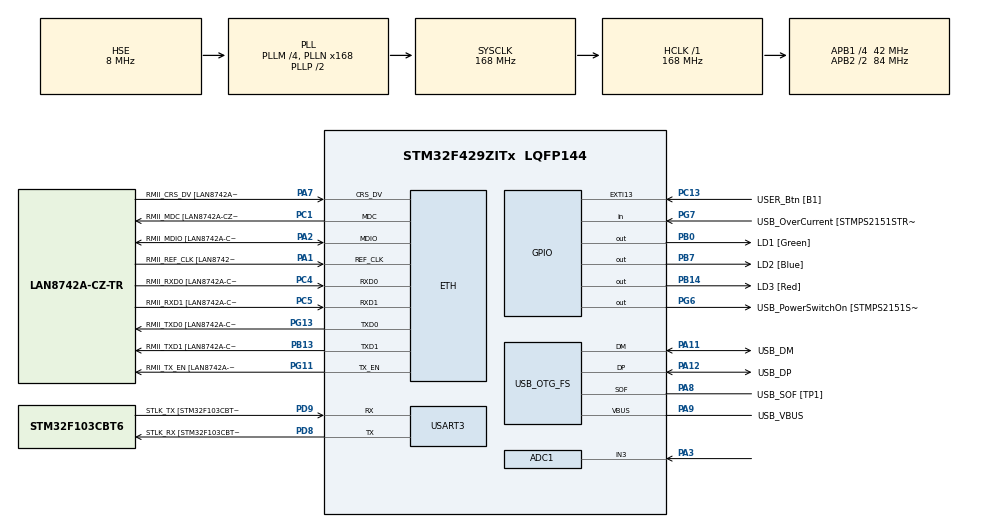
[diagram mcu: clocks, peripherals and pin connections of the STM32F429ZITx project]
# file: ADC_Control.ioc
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ADC1.Channel-0\#ChannelRegularConversion=ADC_CHANNEL_3
ADC1.NbrOfConversionFlag=1
ADC1.Rank-0\#ChannelRegularConversion=1
ADC1.SamplingTime-0\#ChannelRegularConversion=ADC_SAMPLETIME_3CYCLES
ADC1.master=1
ETH.MediaInterface=HAL_ETH_RMII_MODE
ETH.PHY_Name=LAN8742A_PHY_ADDRESS
ETH.PHY_Value=0
ETH.PhyAddress=0
Mcu.Family=STM32F4
Mcu.Name=STM32F429ZITx
Mcu.Package=LQFP144
NVIC.ADC_IRQn=true\:0\:0\:false\:true\:true\:1\:true\:true\:true
NVIC.EXTI15_10_IRQn=true\:0\:0\:false\:true\:true\:3\:true\:true\:true
NVIC.PriorityGroup=NVIC_PRIORITYGROUP_4
NVIC.USART3_IRQn=true\:0\:0\:false\:true\:true\:2\:true\:true\:true
PA1.GPIO_Label=RMII_REF_CLK [LAN8742A-CZ-TR_REFCLK0]
PA1.Mode=RMII
PA1.Signal=ETH_REF_CLK
PA10.GPIO_Label=USB_ID
PA10.Signal=USB_OTG_FS_ID
PA11.GPIO_Label=USB_DM
PA11.Mode=Device_Only
PA11.Signal=USB_OTG_FS_DM
PA12.GPIO_Label=USB_DP
PA12.Mode=Device_Only
PA12.Signal=USB_OTG_FS_DP
PA13.GPIO_Label=TMS
PA13.Mode=Serial_Wire
PA13.Signal=SYS_JTMS-SWDIO
PA14.GPIO_Label=TCK
PA14.Mode=Serial_Wire
PA14.Signal=SYS_JTCK-SWCLK
PA2.GPIO_Label=RMII_MDIO [LAN8742A-CZ-TR_MDIO]
PA2.Mode=RMII
PA2.Signal=ETH_MDIO
PA3.Signal=ADCx_IN3
PA7.GPIO_Label=RMII_CRS_DV [LAN8742A-CZ-TR_CRS_DV]
PA7.Mode=RMII
PA7.Signal=ETH_CRS_DV
PA8.GPIO_Label=USB_SOF [TP1]
PA8.Mode=Activate_SOF_FS
PA8.Signal=USB_OTG_FS_SOF
PA9.GPIO_Label=USB_VBUS
PA9.Mode=Activate_VBUS
PA9.Signal=USB_OTG_FS_VBUS
PB0.GPIO_Label=LD1 [Green]
PB0.Signal=GPIO_Output
PB13.GPIO_Label=RMII_TXD1 [LAN8742A-CZ-TR_TXD1]
PB13.Mode=RMII
PB13.Signal=ETH_TXD1
PB14.GPIO_Label=LD3 [Red]
PB14.Signal=GPIO_Output
PB7.GPIO_Label=LD2 [Blue]
PB7.Signal=GPIO_Output
PC1.GPIO_Label=RMII_MDC [LAN8742A-CZ-TR_MDC]
PC1.Mode=RMII
PC1.Signal=ETH_MDC
PC13.GPIO_Label=USER_Btn [B1]
PC13.Signal=GPXTI13
PC14/OSC32_IN.Mode=LSE-External-Oscillator
PC14/OSC32_IN.Signal=RCC_OSC32_IN
PC15/OSC32_OUT.Mode=LSE-External-Oscillator
PC15/OSC32_OUT.Signal=RCC_OSC32_OUT
PC4.GPIO_Label=RMII_RXD0 [LAN8742A-CZ-TR_RXD0]
PC4.Mode=RMII
PC4.Signal=ETH_RXD0
PC5.GPIO_Label=RMII_RXD1 [LAN8742A-CZ-TR_RXD1]
PC5.Mode=RMII
PC5.Signal=ETH_RXD1
PD8.GPIO_Label=STLK_RX [STM32F103CBT6_PA3]
PD8.Mode=Asynchronous
PD8.Signal=USART3_TX
PD9.GPIO_Label=STLK_TX [STM32F103CBT6_PA2]
PD9.Mode=Asynchronous
PD9.Signal=USART3_RX
PG11.GPIO_Label=RMII_TX_EN [LAN8742A-CZ-TR_TXEN]
PG11.Mode=RMII
PG11.Signal=ETH_TX_EN
PG13.GPIO_Label=RMII_TXD0 [LAN8742A-CZ-TR_TXD0]
PG13.Mode=RMII
PG13.Signal=ETH_TXD0
PG6.GPIO_Label=USB_PowerSwitchOn [STMPS2151STR_EN]
PG6.Signal=GPIO_Output
PG7.GPIO_Label=USB_OverCurrent [STMPS2151STR_FAULT]
PG7.Signal=GPIO_Input
PH0/OSC_IN.GPIO_Label=MCO [STM32F103CBT6_PA8]
PH0/OSC_IN.Mode=HSE-External-Clock-Source
PH0/OSC_IN.Signal=RCC_OSC_IN
PH1/OSC_OUT.Mode=HSE-External-Clock-Source
PH1/OSC_OUT.Signal=RCC_OSC_OUT
ProjectManager.HeapSize=0x200
ProjectManager.StackSize=0x400
ProjectManager.TargetToolchain=STM32CubeIDE
RCC.48MHZClocksFreq_Value=48000000
RCC.AHBFreq_Value=168000000
RCC.APB1CLKDivider=RCC_HCLK_DIV4
RCC.APB1Freq_Value=42000000
RCC.APB1TimFreq_Value=84000000
RCC.APB2CLKDivider=RCC_HCLK_DIV2
RCC.APB2Freq_Value=84000000
RCC.APB2TimCLKDivider=2
RCC.APB2TimFreq_Value=168000000
RCC.CortexFreq_Value=168000000
RCC.HCLKFreq_Value=168000000
RCC.HSE_VALUE=8000000
RCC.HSI_VALUE=16000000
RCC.PLLM=4
RCC.PLLMUL=RCC_PLL_MUL9
RCC.PLLN=168
RCC.PLLQ=7
RCC.PRESCALERUSB=RCC_USBCLKSOURCE_PLL_DIV1_5
RCC.SYSCLKFreq_VALUE=168000000
RCC.SYSCLKSource=RCC_SYSCLKSOURCE_PLLCLK
RCC.SYSCLKSourceVirtual=RCC_SYSCLKSOURCE_PLLCLK
RCC.USBFreq_Value=48000000
RCC.VCOOutputFreq_Value=336000000
SH.ADCx_IN3.0=ADC1_IN3,IN3
USART3.VirtualMode=VM_ASYNC
USB_OTG_FS.VirtualMode=Device_Only
board=NUCLEO-F429ZI

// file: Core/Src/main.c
/* USER CODE BEGIN Header */
/**
  ******************************************************************************
  * @file           : main.c
  * @brief          : Main program body
  ******************************************************************************
  * @attention
  *
  * Copyright (c) 2023 STMicroelectronics.
  * All rights reserved.
  *
  * This software is licensed under terms that can be found in the LICENSE file
  * in the root directory of this software component.
  * If no LICENSE file comes with this software, it is provided AS-IS.
  *
  ******************************************************************************
  */
/* USER CODE END Header */
#include "main.h"
#include "adc.h"
#include "eth.h"
#include "usart.h"
#include "usb_otg.h"
#include "gpio.h"

/* USER CODE BEGIN Includes */
#include "stdio.h"
#include "string.h"
/* USER CODE END Includes */

void SystemClock_Config(void);
static void MX_NVIC_Init(void);

/* USER CODE BEGIN 0 */
int _write(int file, char *ptr, int len)
{
	HAL_UART_Transmit(&huart3, (uint8_t *)ptr, len, 500);
	return len;
}

int __io_putchar(int ch)
{
	HAL_UART_Transmit(&huart3, (uint8_t *)&ch, 1, 1000);
	return ch;
}

char uart_buf[30];
int adc_value;

void HAL_ADC_ConvCpltCallback(ADC_HandleTypeDef* hadc)
{
	if(hadc -> Instance == ADC1)
	{
		  memset(uart_buf, 0, sizeof(uart_buf));
		  adc_value = HAL_ADC_GetValue(&hadc1);
		  sprintf(uart_buf, "ADC Value : %d \r\n", adc_value);
		  HAL_UART_Transmit(&huart3, (uint8_t *)uart_buf, sizeof(uart_buf), 1000);
		  HAL_ADC_Start_IT(&hadc1);
	}
}
/* USER CODE END 0 */

int main(void)
{

  /* MCU Configuration--------------------------------------------------------*/

  /* Reset of all peripherals, Initializes the Flash interface and the Systick. */
  HAL_Init();

  /* Configure the system clock */
  SystemClock_Config();

  /* Initialize all configured peripherals */
  MX_GPIO_Init();
  MX_ETH_Init();
  MX_USART3_UART_Init();
  MX_USB_OTG_FS_PCD_Init();
  MX_ADC1_Init();
  /* Initialize interrupts */
  MX_NVIC_Init();
  /* USER CODE BEGIN 2 */
  HAL_ADC_Start_IT(&hadc1);
  /* USER CODE END 2 */

  /* Infinite loop */
  /* USER CODE BEGIN WHILE */
  while (1)
  {
//	  HAL_ADC_Start(&hadc1);
//	  HAL_ADC_PollForConversion(&hadc1, 10);
//	  adc_value = HAL_ADC_GetError(&hadc1);
//	  HAL_ADC_Stop(&hadc1);
//
//	  memset(uart_buf, 0, sizeof(uart_buf));
//	  sprintf(uart_buf, "ADC Value : %d \r\n", adc_value);
//	  HAL_UART_Transmit(&huart3, (uint8_t *)uart_buf, sizeof(uart_buf), 100);
//	  HAL_Delay(1000);
    /* USER CODE END WHILE */

  }
}

void SystemClock_Config(void)
{
  RCC_OscInitTypeDef RCC_OscInitStruct = {0};
  RCC_ClkInitTypeDef RCC_ClkInitStruct = {0};

  /** Configure the main internal regulator output voltage
  */
  __HAL_RCC_PWR_CLK_ENABLE();
  __HAL_PWR_VOLTAGESCALING_CONFIG(PWR_REGULATOR_VOLTAGE_SCALE1);

  /** Initializes the RCC Oscillators according to the specified parameters
  * in the RCC_OscInitTypeDef structure.
  */
  RCC_OscInitStruct.OscillatorType = RCC_OSCILLATORTYPE_HSE;
  RCC_OscInitStruct.HSEState = RCC_HSE_BYPASS;
  RCC_OscInitStruct.PLL.PLLState = RCC_PLL_ON;
  RCC_OscInitStruct.PLL.PLLSource = RCC_PLLSOURCE_HSE;
  RCC_OscInitStruct.PLL.PLLM = 4;
  RCC_OscInitStruct.PLL.PLLN = 168;
  RCC_OscInitStruct.PLL.PLLP = RCC_PLLP_DIV2;
  RCC_OscInitStruct.PLL.PLLQ = 7;
  if (HAL_RCC_OscConfig(&RCC_OscInitStruct) != HAL_OK)
  {
    Error_Handler();
  }

  /** Initializes the CPU, AHB and APB buses clocks
  */
  RCC_ClkInitStruct.ClockType = RCC_CLOCKTYPE_HCLK|RCC_CLOCKTYPE_SYSCLK
                              |RCC_CLOCKTYPE_PCLK1|RCC_CLOCKTYPE_PCLK2;
  RCC_ClkInitStruct.SYSCLKSource = RCC_SYSCLKSOURCE_PLLCLK;
  RCC_ClkInitStruct.AHBCLKDivider = RCC_SYSCLK_DIV1;
  RCC_ClkInitStruct.APB1CLKDivider = RCC_HCLK_DIV4;
  RCC_ClkInitStruct.APB2CLKDivider = RCC_HCLK_DIV2;

  if (HAL_RCC_ClockConfig(&RCC_ClkInitStruct, FLASH_LATENCY_5) != HAL_OK)
  {
    Error_Handler();
  }
}

/**
  * @brief NVIC Configuration.
  * @retval None
  */
static void MX_NVIC_Init(void)
{
  /* ADC_IRQn interrupt configuration */
  HAL_NVIC_SetPriority(ADC_IRQn, 0, 0);
  HAL_NVIC_EnableIRQ(ADC_IRQn);
  /* USART3_IRQn interrupt configuration */
  HAL_NVIC_SetPriority(USART3_IRQn, 0, 0);
  HAL_NVIC_EnableIRQ(USART3_IRQn);
  /* EXTI15_10_IRQn interrupt configuration */
  HAL_NVIC_SetPriority(EXTI15_10_IRQn, 0, 0);
  HAL_NVIC_EnableIRQ(EXTI15_10_IRQn);
}

void Error_Handler(void)
{
  __disable_irq();
  while (1)
  {
  }
}
